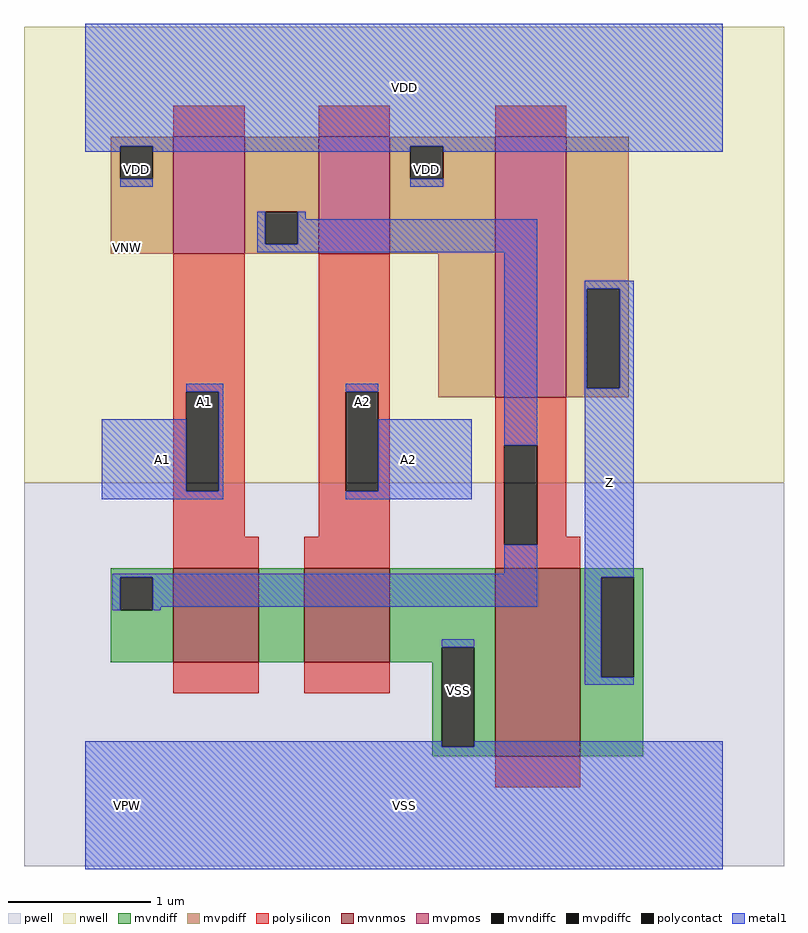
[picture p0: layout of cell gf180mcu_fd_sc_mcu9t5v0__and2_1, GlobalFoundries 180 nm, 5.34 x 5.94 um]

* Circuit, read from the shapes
.subckt gf180mcu_fd_sc_mcu9t5v0__and2_1 A1 A2 Z VDD VNW VPW VSS
XM1 n1 A1 n2 VPW nfet_06v0 w=0.66u l=0.6u
XM2 VSS A2 n1 VPW nfet_06v0 w=0.66u l=0.6u
XM3 Z n2 VSS VPW nfet_06v0 w=1.32u l=0.6u
XM4 n2 A1 VDD VNW pfet_06v0 w=0.82u l=0.5u
XM5 VDD A2 n2 VNW pfet_06v0 w=0.82u l=0.5u
XM6 Z n2 VDD VNW pfet_06v0 w=1.83u l=0.5u
.ends

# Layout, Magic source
magic
tech gf180mcuD
magscale 1 10
<< nwell >>
rect -86 453 982 1094
<< pwell >>
rect -86 -86 982 453
<< mvnmos >>
rect 124 201 244 333
rect 308 201 428 333
rect 576 69 696 333
<< mvpmos >>
rect 124 775 224 939
rect 328 775 428 939
rect 576 573 676 939
<< mvndiff >>
rect 36 320 124 333
rect 36 274 49 320
rect 95 274 124 320
rect 36 201 124 274
rect 244 201 308 333
rect 428 222 576 333
rect 428 201 501 222
rect 488 82 501 201
rect 547 82 576 222
rect 488 69 576 82
rect 696 320 784 333
rect 696 180 725 320
rect 771 180 784 320
rect 696 69 784 180
<< mvpdiff >>
rect 36 926 124 939
rect 36 880 49 926
rect 95 880 124 926
rect 36 775 124 880
rect 224 834 328 939
rect 224 788 253 834
rect 299 788 328 834
rect 224 775 328 788
rect 428 926 576 939
rect 428 880 457 926
rect 503 880 576 926
rect 428 775 576 880
rect 496 573 576 775
rect 676 726 764 939
rect 676 586 705 726
rect 751 586 764 726
rect 676 573 764 586
<< mvndiffc >>
rect 49 274 95 320
rect 501 82 547 222
rect 725 180 771 320
<< mvpdiffc >>
rect 49 880 95 926
rect 253 788 299 834
rect 457 880 503 926
rect 705 586 751 726
<< polysilicon >>
rect 124 939 224 983
rect 328 939 428 983
rect 576 939 676 983
rect 124 581 224 775
rect 124 441 142 581
rect 188 441 224 581
rect 124 377 224 441
rect 328 581 428 775
rect 328 441 366 581
rect 412 441 428 581
rect 328 377 428 441
rect 124 333 244 377
rect 308 333 428 377
rect 576 506 676 573
rect 576 366 589 506
rect 635 377 676 506
rect 635 366 696 377
rect 576 333 696 366
rect 124 157 244 201
rect 308 157 428 201
rect 576 25 696 69
<< polycontact >>
rect 142 441 188 581
rect 366 441 412 581
rect 589 366 635 506
<< metal1 >>
rect 0 926 896 1098
rect 0 918 49 926
rect 95 918 457 926
rect 49 869 95 880
rect 503 918 896 926
rect 457 869 503 880
rect 242 788 253 834
rect 299 823 310 834
rect 299 788 635 823
rect 242 777 635 788
rect 142 581 194 592
rect 23 441 142 542
rect 188 441 194 581
rect 23 430 194 441
rect 366 581 412 592
rect 412 441 543 542
rect 366 430 543 441
rect 589 506 635 777
rect 589 325 635 366
rect 38 320 635 325
rect 38 274 49 320
rect 95 279 635 320
rect 702 726 771 737
rect 702 586 705 726
rect 751 586 771 726
rect 702 320 771 586
rect 95 274 106 279
rect 501 222 547 233
rect 0 82 501 90
rect 702 180 725 320
rect 702 169 771 180
rect 547 82 896 90
rect 0 -90 896 82
<< labels >>
flabel metal1 s 142 542 194 592 0 FreeSans 200 0 0 0 A1
port 1 nsew default input
flabel metal1 s 366 542 412 592 0 FreeSans 200 0 0 0 A2
port 2 nsew default input
flabel metal1 s 0 918 896 1098 0 FreeSans 200 0 0 0 VDD
port 4 nsew power bidirectional abutment
flabel metal1 s 501 90 547 233 0 FreeSans 200 0 0 0 VSS
port 7 nsew ground bidirectional abutment
flabel metal1 s 702 169 771 737 0 FreeSans 200 0 0 0 Z
port 3 nsew default output
flabel nwell s 10 734 110 834 0 FreeSans 400 0 0 0 VNW
port 5 nsew power bidirectional
flabel pwell s 10 -50 110 50 0 FreeSans 400 0 0 0 VPW
port 6 nsew ground bidirectional
rlabel metal1 s 23 430 194 542 1 A1
port 1 nsew default input
rlabel metal1 s 366 430 543 542 1 A2
port 2 nsew default input
rlabel metal1 s 457 869 503 918 1 VDD
port 4 nsew power bidirectional abutment
rlabel metal1 s 49 869 95 918 1 VDD
port 4 nsew power bidirectional abutment
rlabel metal1 s 0 -90 896 90 1 VSS
port 7 nsew ground bidirectional abutment
<< properties >>
string FIXED_BBOX 0 0 896 1008
string GDS_END 1127928
string GDS_FILE $PDKPATH/libs.ref/gf180mcu_fd_sc_mcu9t5v0/gds/gf180mcu_fd_sc_mcu9t5v0.gds
string GDS_START 1124708
string LEFclass core
string LEFsite GF018hv5v_green_sc9
string LEFsymmetry X Y
<< end >>
